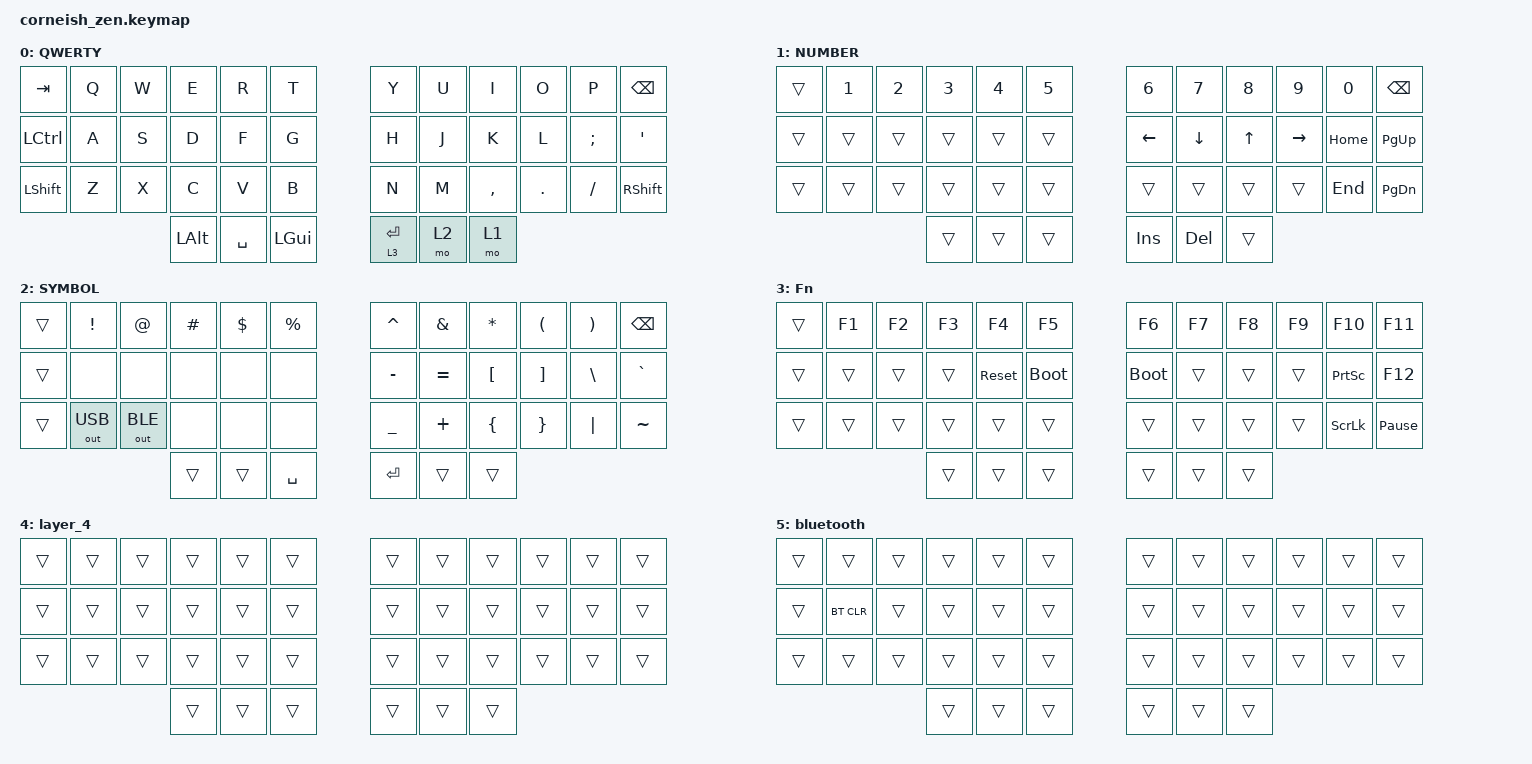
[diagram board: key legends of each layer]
/*
 * Copyright (c) 2020 The ZMK Contributors
 *
 * SPDX-License-Identifier: MIT
 */

#include <behaviors.dtsi>
#include <dt-bindings/zmk/bt.h>
#include <dt-bindings/zmk/keys.h>
#include <dt-bindings/zmk/outputs.h>

/ {
    chosen {
        zmk,matrix_transform = &default_transform;

        // zmk,matrix_transform = &five_column_transform;
    };
};

/ {
    behaviors {
        td0: td0 {
            compatible = "zmk,behavior-tap-dance";
            label = "TD0";
            #binding-cells = <0>;
            bindings = <&kp LEFT_SHIFT>, <&kp CAPS>;
        };
    };

    combos {
        compatible = "zmk,combos";

        bluetooth {
            bindings = <&tog 5>;
            key-positions = <6 7 8 9>;
        };

        esc {
            bindings = <&mt LC(LEFT_BRACKET) ESCAPE>;
            key-positions = <0 1>;
        };

        q {
            bindings = <&kp TILDE>;
            key-positions = <10 11>;
        };

        w {
            bindings = <&kp PIPE>;
            key-positions = <22 23>;
        };
    };

    keymap {
        compatible = "zmk,keymap";

        default_layer {
            display-name = "QWERTY";

            // --------------------------------------------------------------------------------
            // |  TAB |  Q  |  W  |  E  |  R  |  T  |   |  Y  |  U   |  I  |  O  |  P  | BKSP |
            // | CTRL |  A  |  S  |  D  |  F  |  G  |   |  H  |  J   |  K  |  L  |  ;  |  '   | 
            // | SHFT |  Z  |  X  |  C  |  V  |  B  |   |  N  |  M   |  ,  |  .  |  /  | ESC  |
            //                    | GUI | LWR | SPC |   | ENT | RSE  | ALT |

            bindings = <
&kp TAB         &kp Q  &kp W  &kp E         &kp R      &kp T       &kp Y        &kp U  &kp I      &kp O    &kp P      &kp BSPC
&kp LCTRL       &kp A  &kp S  &kp D         &kp F      &kp G       &kp H        &kp J  &kp K      &kp L    &kp SEMI   &kp SQT
&kp LEFT_SHIFT  &kp Z  &kp X  &kp C         &kp V      &kp B       &kp N        &kp M  &kp COMMA  &kp DOT  &kp SLASH  &kp RIGHT_SHIFT
                              &kp LEFT_ALT  &kp SPACE  &kp LGUI    &lt 3 ENTER  &mo 2  &mo 1
            >;
        };

        lower_layer {
            display-name = "NUMBER";

            // -----------------------------------------------------------------------------------------
            // |  TAB |  1  |  2  |  3  |  4  |  5  |   |  6  |  7  |  8  |  9  |  0  | BKSP |
            // | BTCLR| BT1 | BT2 | BT3 | BT4 | BT5 |   | LFT | DWN |  UP | RGT |     |      |
            // | SHFT |     |     |     |     |     |   |     |     |     |     |     |      |
            //                    | GUI |     | SPC |   | ENT |     | ALT |

            bindings = <
&trans  &kp N1  &kp N2  &kp N3  &kp N4  &kp N5    &kp N6    &kp N7    &kp N8  &kp N9     &kp N0    &kp BSPC
&trans  &trans  &trans  &trans  &trans  &trans    &kp LEFT  &kp DOWN  &kp UP  &kp RIGHT  &kp HOME  &kp PG_UP
&trans  &trans  &trans  &trans  &trans  &trans    &trans    &trans    &trans  &trans     &kp END   &kp PG_DN
                        &trans  &trans  &trans    &kp INS   &kp DEL   &trans
            >;
        };

        raise_layer {
            display-name = "SYMBOL";

            // -----------------------------------------------------------------------------------------
            // |  TAB |  !  |  @  |  #  |  $  |  %  |   |  ^  |  &  |  *  |  (  |  )  | BKSP |
            // | CTRL |     |     |     |     |     |   |  -  |  =  |  [  |  ]  |  \  |  `   |
            // | SHFT |     |     |     |     |     |   |  _  |  +  |  {  |  }  | "|" |  ~   |
            //                    | GUI |     | SPC |   | ENT |     | ALT |

            bindings = <
&trans  &kp EXCL      &kp AT        &kp HASH  &kp DLLR  &kp PRCNT    &kp CARET  &kp AMPS   &kp ASTRK  &kp LPAR  &kp RPAR  &kp BSPC
&trans  &none         &none         &none     &none     &none        &kp MINUS  &kp EQUAL  &kp LBKT   &kp RBKT  &kp BSLH  &kp GRAVE
&trans  &out OUT_USB  &out OUT_BLE  &none     &none     &none        &kp UNDER  &kp PLUS   &kp LBRC   &kp RBRC  &kp PIPE  &kp TILDE
                                    &trans    &trans    &kp SPACE    &kp RET    &trans     &trans
            >;
        };

        layer_3 {
            display-name = "Fn";
            bindings = <
&trans  &kp F1  &kp F2  &kp F3  &kp F4      &kp F5         &kp F6       &kp F7  &kp F8  &kp F9  &kp F10          &kp F11
&trans  &trans  &trans  &trans  &sys_reset  &bootloader    &bootloader  &trans  &trans  &trans  &kp PRINTSCREEN  &kp F12
&trans  &trans  &trans  &trans  &trans      &trans         &trans       &trans  &trans  &trans  &kp SCROLLLOCK   &kp PAUSE_BREAK
                        &trans  &trans      &trans         &trans       &trans  &trans
            >;
        };

        layer_4 {
            bindings = <
&trans  &trans  &trans  &trans  &trans  &trans    &trans  &trans  &trans  &trans  &trans  &trans
&trans  &trans  &trans  &trans  &trans  &trans    &trans  &trans  &trans  &trans  &trans  &trans
&trans  &trans  &trans  &trans  &trans  &trans    &trans  &trans  &trans  &trans  &trans  &trans
                        &trans  &trans  &trans    &trans  &trans  &trans
            >;
        };

        bluetooth {
            bindings = <
&trans  &trans      &trans  &trans  &trans  &trans    &trans  &trans  &trans  &trans  &trans  &trans
&trans  &bt BT_CLR  &trans  &trans  &trans  &trans    &trans  &trans  &trans  &trans  &trans  &trans
&trans  &trans      &trans  &trans  &trans  &trans    &trans  &trans  &trans  &trans  &trans  &trans
                            &trans  &trans  &trans    &trans  &trans  &trans
            >;
        };
    };
};
